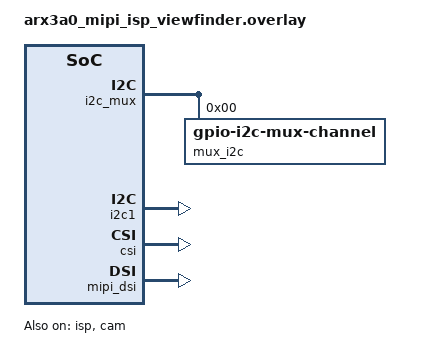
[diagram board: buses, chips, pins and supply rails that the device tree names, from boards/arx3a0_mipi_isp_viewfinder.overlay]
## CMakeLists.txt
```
# Copyright (C) Alif Semiconductor
# SPDX-License-Identifier: Apache-2.0

cmake_minimum_required(VERSION 3.20.0)
find_package(Zephyr REQUIRED HINTS $ENV{ZEPHYR_BASE})
project(viewfinder)

target_sources(app PRIVATE src/main.c src/alif_logo.c)
```

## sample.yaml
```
sample:
  name: Viewfinder Sample
  description: Continuous frame capture from ARX3A0/MT9M114/OV5675 camera
    sensor and display on MIPI DSI panel.
tests:
  sample.drivers.viewfinder.arx3a0.e7:
    platform_allow:
      - alif_e7_dk/rtss_hp
      - alif_e7_dk/rtss_he
    extra_args:
      - DTC_OVERLAY_FILE=boards/arx3a0_mipi_viewfinder.overlay
    tags: drivers video display
  sample.drivers.viewfinder.arx3a0.e8:
    platform_allow:
      - alif_e8_dk/rtss_hp
      - alif_e8_dk/rtss_he
      - alif_e8_ak/rtss_hp
      - alif_e8_ak/rtss_he
    extra_args:
      - DTC_OVERLAY_FILE=boards/arx3a0_mipi_isp_viewfinder.overlay
      - OVERLAY_CONFIG=boards/isp.conf
    tags: drivers video display
  sample.drivers.viewfinder.mt9m114.e7:
    platform_allow:
      - alif_e7_dk/rtss_hp
      - alif_e7_dk/rtss_he
    extra_args:
      - DTC_OVERLAY_FILE=boards/mt9m114_mipi_viewfinder.overlay
      - OVERLAY_CONFIG=boards/serial_camera_mt9m114.conf
    tags: drivers video display
  sample.drivers.viewfinder.mt9m114.e8:
    platform_allow:
      - alif_e8_dk/rtss_hp
      - alif_e8_dk/rtss_he
      - alif_e8_ak/rtss_hp
      - alif_e8_ak/rtss_he
    extra_args:
      - DTC_OVERLAY_FILE=boards/mt9m114_mipi_isp_viewfinder.overlay
      - OVERLAY_CONFIG="boards/isp.conf;boards/serial_camera_mt9m114.conf"
    tags: drivers video display
  sample.drivers.viewfinder.ov5675.e8:
    platform_allow:
      - alif_e8_dk/rtss_hp
      - alif_e8_dk/rtss_he
      - alif_e8_ak/rtss_hp
      - alif_e8_ak/rtss_he
    extra_args:
      - DTC_OVERLAY_FILE=boards/ov5675_mipi_isp_viewfinder.overlay
      - OVERLAY_CONFIG=boards/isp.conf
    tags: drivers video display
```

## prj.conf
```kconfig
# Camera
CONFIG_VIDEO=y
CONFIG_LOG=y
CONFIG_PRINTK=y
CONFIG_STDOUT_CONSOLE=y
CONFIG_I2C_TARGET=y
CONFIG_I2C=y
CONFIG_I2C_DW_CLOCK_SPEED=100
CONFIG_SYS_HEAP_AUTO=y
CONFIG_VIDEO_LOG_LEVEL_DBG=n
CONFIG_GPIO=y
# AIPL (Alif Image Processing Library) - for HW-accelerated color conversion
CONFIG_AIPL=y
CONFIG_AIPL_COLOR_CONVERSION=y
CONFIG_AIPL_CONVERT_I420=y
CONFIG_AIPL_CONVERT_I420_TO_RGB565=y
CONFIG_AIPL_DEMOSAICING=y
CONFIG_AIPL_HELIUM_ACCELERATION=y
CONFIG_DAVE2D=n
CONFIG_AIPL_DAVE2D_ACCELERATION=n
# Display
CONFIG_DISPLAY=y
CONFIG_MIPI_DSI=y
CONFIG_HEAP_MEM_POOL_SIZE=81920
```

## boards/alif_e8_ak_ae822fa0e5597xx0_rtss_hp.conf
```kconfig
CONFIG_VIDEO_ALIF_CAM_EXTENDED=y
```

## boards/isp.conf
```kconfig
CONFIG_USE_ALIF_ISP_LIB=y
CONFIG_ISP_LIB_SCALAR_MODULE=y
CONFIG_ISP_LIB_DMSC_MODULE=y
CONFIG_ISP_LIB_CSM_MODULE=y
CONFIG_ISP_LIB_CCM_MODULE=n
CONFIG_ISP_LIB_WBM_MODULE=n
CONFIG_ISP_LIB_WB_MODULE=n
```

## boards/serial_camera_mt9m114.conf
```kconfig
# Serial MT9M114
CONFIG_LOG_MODE_IMMEDIATE=y
CONFIG_VIDEO_MIPI_CSI2_DW=y
CONFIG_VIDEO_BUFFER_POOL_NUM_MAX=2
CONFIG_REGULATOR=y
CONFIG_REGULATOR_FIXED_INIT_PRIORITY=40
CONFIG_MT9M114_PARALLEL_INIT=n
CONFIG_MAIN_STACK_SIZE=8192
```

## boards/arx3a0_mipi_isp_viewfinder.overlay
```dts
/* Copyright (C) Alif Semiconductor - All Rights Reserved.
 * Use, distribution and modification of this code are permitted under the
 * terms stated in the Alif Semiconductor Software License Agreement.
 *
 * You should have received a copy of the Alif Semiconductor Software
 * License Agreement with this file. If not, please write to:
 * contact@alifsemi.com, or visit: https://alifsemi.com/license
 */

#include <dt-bindings/pinctrl/ensemble-pinctrl.h>
#include <dt-bindings/i2c/i2c.h>
#include <dt-bindings/gpio/gpio.h>
#include <dt-bindings/video/video-interfaces.h>

&i2c1 {
	status = "okay";
};

&gpio7 {
	status = "okay";
};

&gpio14 {
	status = "okay";
};

/{
	/* GPIO-based I2C mux for camera sensor selection (E8 SoC only) */
	i2c_mux: i2c-mux {
		compatible = "gpio-i2c-mux";
		status = "okay";
		#address-cells = <1>;
		#size-cells = <0>;

		i2c-inst = <&i2c1>;

		ctrl-gpios = <&gpio14 3 GPIO_ACTIVE_HIGH>;

		mux_i2c@0 {
			compatible = "gpio-i2c-mux-channel";
			reg = <0>;

			#address-cells = <1>;
			#size-cells = <0>;

			arx3a0_selfie: arx3a0_selfie@36 {
				compatible = "onnn,arx3a0";
				reg = <0x36>;

				reset-gpios = <&gpio14 4 GPIO_ACTIVE_HIGH>;
				power-gpios = <&gpio7 5 GPIO_ACTIVE_HIGH>;

				status = "okay";

				port {
					arx3a0_csi2_ep_out0: endpoint {
						bus-type =
						  <VIDEO_BUS_TYPE_CSI2_DPHY>;
						link-frequencies = <400000000>;
						data-lanes = <1 2>;
						clock-lane = <0>;

						remote-endpoint-label =
						  "csi2_ep_in0";
					};
				};
			};
		};
	};
};

/* ISP node for hardware image processing pipeline (E8 SoC only) */
&isp {
	status = "okay";

	port {
		isp_ep_in: endpoint {
			remote-endpoint-label = "cam_isp_ep_out";
		};
	};
};

&cam {
	status = "okay";

	pinctrl-0 = <&pinctrl_cam_xvclk>;
	pinctrl-names = "default";
	capture-mode = "snapshot";
	ports {
		#address-cells = <1>;
		#size-cells = <0>;

		/* MIPI CSI-2 bus endpoint. */
		port@0 {
			reg = <0>;
			cam_csi2_ep_in: endpoint {
				remote-endpoint-label = "csi2_ep_out";
			};
		};

		/* ISP Interface. */
		port@2 {
			reg = <2>;
			cam_isp_ep_out: endpoint {
				remote-endpoint-label = "isp_ep_in";
			};
		};
	};
};

&csi {
	status = "okay";

	/* Selfie camera D-PHY*/
	phy-if = <&dphy 0>;
	ports {
		#address-cells = <1>;
		#size-cells = <0>;
		port@0 {
			reg = <0>;
			csi2_ep_in0: endpoint {
				bus-type = <VIDEO_BUS_TYPE_CSI2_DPHY>;
				data-lanes = <1 2>;
				clock-lane = <0>;

				remote-endpoint-label = "arx3a0_csi2_ep_out0";
			};
		};
		port@1 {
			reg = <2>;
			csi2_ep_out: endpoint {
				remote-endpoint-label = "cam_csi2_ep_in";
				bus-type = <VIDEO_BUS_TYPE_PARALLEL>;
			};
		};
	};
};

&mipi_dsi {
	status = "okay";
};
/ {
	soc {
		cdc200: cdc200@49031000 {
			width = <480>;
			height = <800>;
			hfront-porch = <5>;
			hback-porch = <5>;
			hsync-len = <4>;
			vfront-porch = <10>;
			vback-porch = <10>;
			vsync-len = <2>;
			clock-frequency = <24364080>;
			hsync-active = <0>;
			vsync-active = <0>;
			de-active = <1>;
			pixelclk-active = <0>;
			bg-color = <0>;
			enable-l1 = <1>;
			pixel-fmt-l1 = "rgb-565";
			def-back-color-l1 = <0>;
			win-x0-l1 = <0>;
			win-y0-l1 = <0>;
			win-x1-l1 = <480>;
			win-y1-l1 = <800>;
			blend-factor1-l1 = <4>;
			blend-factor2-l1 = <5>;
			const-alpha-l1 = <0xff>;
			enable-l2 = <0>;
			pixel-fmt-l2 = "undefined";
			win-x0-l2 = <0>;
			win-y0-l2 = <0>;
			win-x1-l2 = <0>;
			win-y1-l2 = <0>;
			blend-factor1-l2 = <6>;
			blend-factor2-l2 = <7>;
			const-alpha-l2 = <0xff>;
		};
	};
};
```

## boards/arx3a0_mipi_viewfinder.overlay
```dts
/* Copyright (C) Alif Semiconductor - All Rights Reserved.
 * Use, distribution and modification of this code are permitted under the
 * terms stated in the Alif Semiconductor Software License Agreement.
 *
 * You should have received a copy of the Alif Semiconductor Software
 * License Agreement with this file. If not, please write to:
 * contact@alifsemi.com, or visit: https://alifsemi.com/license
 */

#include <dt-bindings/pinctrl/ensemble-pinctrl.h>
#include <dt-bindings/i2c/i2c.h>
#include <dt-bindings/gpio/gpio.h>
#include <dt-bindings/video/video-interfaces.h>


&gpio7 {
	status = "okay";
};

&gpio9 {
	status = "okay";
};

&i2c1 {
		status = "okay";
			arx3a0_selfie: arx3a0_selfie@36 {
				compatible = "onnn,arx3a0";
				reg = <0x36>;

				reset-gpios = <&gpio9 1 GPIO_ACTIVE_HIGH>;
				power-gpios = <&gpio7 5 GPIO_ACTIVE_HIGH>;

				status = "okay";

				port {
					arx3a0_csi2_ep_out: endpoint {
						bus-type =
						  <VIDEO_BUS_TYPE_CSI2_DPHY>;
						link-frequencies = <400000000>;
						data-lanes = <1 2>;
						clock-lane = <0>;

						remote-endpoint-label =
						  "csi2_ep_in";
				};
			};
		};
	};

&cam {
	status = "okay";

	pinctrl-0 = <&pinctrl_cam_xvclk>;
	pinctrl-names = "default";
	capture-mode = "snapshot";
	csi-halt-en;
	ports {
		#address-cells = <1>;
		#size-cells = <0>;

		/* MIPI CSI-2 bus endpoint. */
		port@0 {
			reg = <0>;
			cam_csi2_ep_in: endpoint {
				remote-endpoint-label = "csi2_ep_out";
			};
		};

		/* Video buffer output endpoint. */
		port@1 {
			reg = <1>;
			cam_mem_ep_out: endpoint {
				remote-endpoint-label = "application";
			};
		};
	};
};

&csi {
	status = "okay";

	/* Selfie camera D-PHY*/
	phy-if = <&dphy 0>;
	ports {
		#address-cells = <1>;
		#size-cells = <0>;
		port@0 {
			reg = <0>;
			csi2_ep_in: endpoint {
				bus-type = <VIDEO_BUS_TYPE_CSI2_DPHY>;
				data-lanes = <1 2>;
				clock-lane = <0>;

				remote-endpoint-label = "arx3a0_csi2_ep_out";
			};
		};
		port@1 {
			reg = <2>;
			csi2_ep_out: endpoint {
				remote-endpoint-label = "cam_csi2_ep_in";
				bus-type = <VIDEO_BUS_TYPE_PARALLEL>;
			};
		};
	};
};

&mipi_dsi {
	status = "okay";
};
/ {
	soc {
		cdc200: cdc200@49031000 {
			width = <480>;
			height = <800>;
			hfront-porch = <5>;
			hback-porch = <5>;
			hsync-len = <4>;
			vfront-porch = <10>;
			vback-porch = <10>;
			vsync-len = <2>;
			clock-frequency = <24364080>;
			hsync-active = <0>;
			vsync-active = <0>;
			de-active = <1>;
			pixelclk-active = <0>;
			bg-color = <0>;
			enable-l1 = <1>;
			pixel-fmt-l1 = "rgb-565";
			def-back-color-l1 = <0>;
			win-x0-l1 = <0>;
			win-y0-l1 = <0>;
			win-x1-l1 = <480>;
			win-y1-l1 = <800>;
			blend-factor1-l1 = <4>;
			blend-factor2-l1 = <5>;
			const-alpha-l1 = <0xff>;
			enable-l2 = <0>;
			pixel-fmt-l2 = "undefined";
			win-x0-l2 = <0>;
			win-y0-l2 = <0>;
			win-x1-l2 = <0>;
			win-y1-l2 = <0>;
			blend-factor1-l2 = <6>;
			blend-factor2-l2 = <7>;
			const-alpha-l2 = <0xff>;
		};
	};
};
```

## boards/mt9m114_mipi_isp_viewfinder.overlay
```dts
/* Copyright (C) Alif Semiconductor - All Rights Reserved.
 * Use, distribution and modification of this code are permitted under the
 * terms stated in the Alif Semiconductor Software License Agreement.
 *
 * You should have received a copy of the Alif Semiconductor Software
 * License Agreement with this file. If not, please write to:
 * contact@alifsemi.com, or visit: https://alifsemi.com/license
 */

#include <dt-bindings/pinctrl/ensemble-pinctrl.h>
#include <dt-bindings/i2c/i2c.h>
#include <dt-bindings/gpio/gpio.h>
#include <dt-bindings/video/video-interfaces.h>

&i2c1 {
	status = "okay";
};

&gpio7 {
	status = "okay";
};

&gpio14 {
	status = "okay";
};

/ {
csi_cam_power: regulator-v1.2-v1.8v {
		compatible = "regulator-fixed";

		regulator-name = "MIPI supply";

		enable-gpios = < &gpio7 5 GPIO_ACTIVE_HIGH >;

		regulator-boot-on;
		regulator-always-on;
		status = "okay";
};
};

/{
	i2c_mux: i2c-mux {
		compatible = "gpio-i2c-mux";
		status = "okay";
		#address-cells = <1>;
		#size-cells = <0>;

		i2c-inst = <&i2c1>;

		ctrl-gpios = <&gpio14 3 GPIO_ACTIVE_HIGH>;

		mux_i2c@0 {
			compatible = "gpio-i2c-mux-channel";
			reg = <0>;

			#address-cells = <1>;
			#size-cells = <0>;

			mt9m114_selfie: mt9m114_selfie@5d {
				compatible = "aptina,mt9m114";
				reg = <0x5d>;

				reset-gpios = <&gpio14 4 GPIO_ACTIVE_LOW>;

				status = "okay";

				port {
					mt9m114_csi2_ep_out: endpoint {
						bus-type = <VIDEO_BUS_TYPE_CSI2_DPHY>;
						link-frequencies = < 384000000 >;
						data-lanes = <1>;
						clock-lane = <0>;

						remote-endpoint-label = "csi2_ep_in";
					};
				};
			};
		};
	};
};

&isp {
	status = "okay";

	port {
		isp_ep_in: endpoint {
			remote-endpoint-label = "cam_isp_ep_out";
		};
	};
};

&cam {
	status = "okay";

	pinctrl-0 = <&pinctrl_cam_xvclk>;
	pinctrl-names = "default";
	capture-mode = "snapshot";
	ports {
		#address-cells = <1>;
		#size-cells = <0>;

		/* MIPI CSI-2 bus endpoint. */
		port@0 {
			reg = <0>;
			cam_csi2_ep_in: endpoint {
				remote-endpoint-label = "csi2_ep_out";
			};
		};

		/* ISP Interface. */
		port@2 {
			reg = <2>;
			cam_isp_ep_out: endpoint {
				remote-endpoint-label = "isp_ep_in";
			};
		};
	};
};

&csi {
	status = "okay";

	/* Selfie camera D-PHY*/
	phy-if = <&dphy 0>;
	ports {
		#address-cells = <1>;
		#size-cells = <0>;
		port@0 {
			reg = <0>;
			csi2_ep_in: endpoint {
				bus-type = <VIDEO_BUS_TYPE_CSI2_DPHY>;
				link-frequencies = < 384000000 >;
				data-lanes = <1 2>;
				clock-lane = <0>;

				remote-endpoint-label = "mt9m114_csi2_ep_out";
			};
		};
		port@1 {
			reg = <2>;
			csi2_ep_out: endpoint {
				remote-endpoint-label = "cam_csi2_ep_in";
				bus-type = <VIDEO_BUS_TYPE_PARALLEL>;
			};
		};
	};
};

&mipi_dsi {
	status = "okay";
};
/ {
	soc {
		cdc200: cdc200@49031000 {
			width = <480>;
			height = <800>;
			hfront-porch = <5>;
			hback-porch = <5>;
			hsync-len = <4>;
			vfront-porch = <10>;
			vback-porch = <10>;
			vsync-len = <2>;
			clock-frequency = <24364080>;
			hsync-active = <0>;
			vsync-active = <0>;
			de-active = <1>;
			pixelclk-active = <0>;
			bg-color = <0>;
			enable-l1 = <1>;
			pixel-fmt-l1 = "rgb-565";
			def-back-color-l1 = <0>;
			win-x0-l1 = <0>;
			win-y0-l1 = <0>;
			win-x1-l1 = <480>;
			win-y1-l1 = <800>;
			blend-factor1-l1 = <4>;
			blend-factor2-l1 = <5>;
			const-alpha-l1 = <0xff>;
			enable-l2 = <0>;
			pixel-fmt-l2 = "undefined";
			win-x0-l2 = <0>;
			win-y0-l2 = <0>;
			win-x1-l2 = <0>;
			win-y1-l2 = <0>;
			blend-factor1-l2 = <6>;
			blend-factor2-l2 = <7>;
			const-alpha-l2 = <0xff>;
		};
	};
};
```

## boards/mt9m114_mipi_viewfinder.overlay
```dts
/* Copyright (C) Alif Semiconductor - All Rights Reserved.
 * Use, distribution and modification of this code are permitted under the
 * terms stated in the Alif Semiconductor Software License Agreement.
 *
 * You should have received a copy of the Alif Semiconductor Software
 * License Agreement with this file. If not, please write to:
 * contact@alifsemi.com, or visit: https://alifsemi.com/license
 */

#include <dt-bindings/pinctrl/ensemble-pinctrl.h>
#include <dt-bindings/i2c/i2c.h>
#include <dt-bindings/gpio/gpio.h>
#include <dt-bindings/video/video-interfaces.h>

&gpio7 {
	status = "okay";
};

&gpio9 {
	status = "okay";
};

/{

	csi_cam_power: regulator-v1.2-v1.8v {
		compatible = "regulator-fixed";

		regulator-name = "MIPI supply";

		enable-gpios = < &gpio7 5 GPIO_ACTIVE_HIGH >;

		regulator-boot-on;
		regulator-always-on;
		status = "okay";
	};
};

&i2c1 {
	status = "okay";
	clock-frequency = <I2C_BITRATE_FAST>;

	/*
	 * For Standard  speed LCNT=0 and HCNT=0
	 * For Fast      speed LCNT=50 and HCNT=30
	 * For Fast Plus speed LCNT=35 and HCNT=5
	 */
	hcnt-offset = <30>;
	lcnt-offset = <50>;

	mt9m114: mt9m114@5d {
		compatible = "aptina,mt9m114";
		reg = <0x5d>;

		reset-gpios = <&gpio9 1 GPIO_ACTIVE_LOW>;
		status = "okay";

		port {
			mt9m114_csi2_ep_out: endpoint {
				bus-type = <VIDEO_BUS_TYPE_CSI2_DPHY>;
				link-frequencies = < 384000000 >;
				data-lanes = <0x1>;
				clock-lane = <0>;
				remote-endpoint-label = "csi2_ep_in";
			};
		};
	};
};
&cam {
	status = "okay";

	pinctrl-0 = <&pinctrl_cam_xvclk>;
	pinctrl-names = "default";
	capture-mode = "snapshot";
	ports {
		#address-cells = <1>;
		#size-cells = <0>;

		/* MIPI CSI-2 bus endpoint. */
		port@0 {
			reg = <0>;
			cam_csi2_ep_in: endpoint {
				remote-endpoint-label = "csi2_ep_out";
			};
		};
		/* Video buffer output endpoint.*/
		port@1 {
			reg = <1>;
			cam_mem_ep_out: endpoint {
				remote-endpoint-label = "application";
			};
		};
	};
};

&csi {
	status = "okay";

	/* Selfie camera D-PHY*/
	phy-if = <&dphy 0>;
	ports {
		#address-cells = <1>;
		#size-cells = <0>;
		port@0 {
			reg = <0>;
			csi2_ep_in: endpoint {
				bus-type = <VIDEO_BUS_TYPE_CSI2_DPHY>;
				data-lanes = <1>;
				clock-lane = <0>;
				link-frequencies = < 384000000 >;

				remote-endpoint-label = "mt9m114_csi2_ep_out";
			};
		};
		port@1 {
			reg = <2>;
			csi2_ep_out: endpoint {
				remote-endpoint-label = "cam_csi2_ep_in";
				bus-type = <VIDEO_BUS_TYPE_PARALLEL>;
			};
		};
	};
};

&mipi_dsi {
	status = "okay";
};
/ {
	soc {
		cdc200: cdc200@49031000 {
			width = <480>;
			height = <800>;
			hfront-porch = <5>;
			hback-porch = <5>;
			hsync-len = <4>;
			vfront-porch = <10>;
			vback-porch = <10>;
			vsync-len = <2>;
			clock-frequency = <24364080>;
			hsync-active = <0>;
			vsync-active = <0>;
			de-active = <1>;
			pixelclk-active = <0>;
			bg-color = <0>;
			enable-l1 = <1>;
			pixel-fmt-l1 = "rgb-565";
			def-back-color-l1 = <0>;
			win-x0-l1 = <0>;
			win-y0-l1 = <0>;
			win-x1-l1 = <480>;
			win-y1-l1 = <800>;
			blend-factor1-l1 = <4>;
			blend-factor2-l1 = <5>;
			const-alpha-l1 = <0xff>;
			enable-l2 = <0>;
			pixel-fmt-l2 = "undefined";
			win-x0-l2 = <0>;
			win-y0-l2 = <0>;
			win-x1-l2 = <0>;
			win-y1-l2 = <0>;
			blend-factor1-l2 = <6>;
			blend-factor2-l2 = <7>;
			const-alpha-l2 = <0xff>;
		};
	};
};
```

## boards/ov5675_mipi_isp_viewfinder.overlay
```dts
/* Copyright (C) Alif Semiconductor - All Rights Reserved.
 * Use, distribution and modification of this code are permitted under the
 * terms stated in the Alif Semiconductor Software License Agreement.
 *
 * You should have received a copy of the Alif Semiconductor Software
 * License Agreement with this file. If not, please write to:
 * contact@alifsemi.com, or visit: https://alifsemi.com/license
 */

#include <dt-bindings/pinctrl/ensemble-pinctrl.h>
#include <dt-bindings/i2c/i2c.h>
#include <dt-bindings/gpio/gpio.h>
#include <dt-bindings/video/video-interfaces.h>

&i2c1 {
	status = "okay";
	clock-frequency = <I2C_BITRATE_FAST>;

	/*
	 * For Standard  speed LCNT=0 and HCNT=0
	 * For Fast      speed LCNT=50 and HCNT=30
	 * For Fast Plus speed LCNT=35 and HCNT=5
	 */
	hcnt-offset = <30>;
	lcnt-offset = <50>;
};

&gpio7 {
	status = "okay";
};

&gpio14 {
	status = "okay";
};

/{
	i2c_mux: i2c-mux {
		compatible = "gpio-i2c-mux";
		status = "okay";
		#address-cells = <1>;
		#size-cells = <0>;

		i2c-inst = <&i2c1>;

		ctrl-gpios = <&gpio14 3 GPIO_ACTIVE_HIGH>;

		mux_i2c@0 {
			compatible = "gpio-i2c-mux-channel";
			reg = <0>;

			#address-cells = <1>;
			#size-cells = <0>;
			/* 10 for compact version, 36 for 'legacy' */
			ov5675_selfie: ov5675_selfie@10 {
				compatible = "ovti,ov5675";
				reg = <0x10>;

				reset-gpios = <&gpio14 4 GPIO_ACTIVE_HIGH>;
				power-gpios = <&gpio7 5 GPIO_ACTIVE_HIGH>;

				status = "okay";

				port {
					ov5675_csi2_ep_out0: endpoint {
						bus-type = <VIDEO_BUS_TYPE_CSI2_DPHY>;
						link-frequencies = < 400000000 >;
						data-lanes = <1 2>;
						clock-lane = <0>;

						remote-endpoint-label = "csi2_ep_in0";
					};
				};
			};
		};
	};
};

&isp {
	status = "okay";
	port {
		isp_ep_in: endpoint {
			remote-endpoint-label = "cam_isp_ep_out";
		};
	};
};

&cam {
	status = "okay";

	pinctrl-0 = <&pinctrl_cam_xvclk>;
	pinctrl-names = "default";
	capture-mode = "snapshot";
	data-mode = "16-bit";

	ports {
		#address-cells = <1>;
		#size-cells = <0>;

		/* MIPI CSI-2 bus endpoint. */
		port@0 {
			reg = <0>;
			cam_csi2_ep_in: endpoint {
				remote-endpoint-label = "csi2_ep_out";
			};
		};

		/* ISP Interface. */
		port@2 {
			reg = <2>;
			cam_isp_ep_out: endpoint {
				remote-endpoint-label = "isp_ep_in";
			};
		};
	};
};

&csi {
	status = "okay";

	/* Selfie camera D-PHY */
	phy-if = <&dphy 0>;
	ports {
		#address-cells = <1>;
		#size-cells = <0>;
		port@0 {
			reg = <0>;
			csi2_ep_in0: endpoint {
				bus-type = <VIDEO_BUS_TYPE_CSI2_DPHY>;
				data-lanes = <1 2>;
				clock-lane = <0>;

				remote-endpoint-label = "ov5675_csi2_ep_out0";
			};
		};
		port@2 {
			reg = <2>;
			csi2_ep_out: endpoint {
				remote-endpoint-label = "cam_csi2_ep_in";
				bus-type = <VIDEO_BUS_TYPE_PARALLEL>;
			};
		};
	};
};

&mipi_dsi {
	status = "okay";
};
/ {
	soc {
		cdc200: cdc200@49031000 {
			width = <480>;
			height = <800>;
			hfront-porch = <5>;
			hback-porch = <5>;
			hsync-len = <4>;
			vfront-porch = <10>;
			vback-porch = <10>;
			vsync-len = <2>;
			clock-frequency = <24364080>;
			hsync-active = <0>;
			vsync-active = <0>;
			de-active = <1>;
			pixelclk-active = <0>;
			bg-color = <0>;
			enable-l1 = <1>;
			pixel-fmt-l1 = "rgb-565";
			def-back-color-l1 = <0>;
			win-x0-l1 = <0>;
			win-y0-l1 = <0>;
			win-x1-l1 = <480>;
			win-y1-l1 = <800>;
			blend-factor1-l1 = <4>;
			blend-factor2-l1 = <5>;
			const-alpha-l1 = <0xff>;
			enable-l2 = <0>;
			pixel-fmt-l2 = "undefined";
			win-x0-l2 = <0>;
			win-y0-l2 = <0>;
			win-x1-l2 = <0>;
			win-y1-l2 = <0>;
			blend-factor1-l2 = <6>;
			blend-factor2-l2 = <7>;
			const-alpha-l2 = <0xff>;
		};
	};
};
```

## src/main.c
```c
/*
 * Copyright (C) Alif Semiconductor.
 * SPDX-License-Identifier: Apache-2.0
 */

#include <zephyr/kernel.h>
#include <zephyr/device.h>
#include <string.h>

#include <zephyr/drivers/video.h>
#include <soc_common.h>
#include <se_service.h>
#include <zephyr/drivers/gpio.h>

#include <zephyr/drivers/video/video_alif.h>
#include <zephyr/drivers/video/isp-vsi.h>

#include <zephyr/logging/log.h>
#include <zephyr/drivers/display.h>
#include <zephyr/drivers/display/cdc200.h>
#ifdef CONFIG_MIPI_DSI
#include <zephyr/drivers/mipi_dsi/dsi_dw.h>
#endif /* CONFIG_MIPI_DSI */
#include <zephyr/cache.h>

#include <aipl_error.h>

#define ISP_ENABLED DT_NODE_HAS_STATUS_OKAY(DT_NODELABEL(isp))

#if ISP_ENABLED
#include <aipl_color_conversion.h>
#else
#include <aipl_demosaic.h>
#endif

#include "alif_logo.h"

LOG_MODULE_REGISTER(video_app, LOG_LEVEL_INF);

#define N_FRAMES		2
#define N_VID_BUFF              MIN(CONFIG_VIDEO_BUFFER_POOL_NUM_MAX, N_FRAMES)

#ifdef CONFIG_DT_HAS_HIMAX_HM0360_ENABLED
#define PIPELINE_FORMAT	VIDEO_PIX_FMT_BGGR8
#define SENSOR_WIDTH	320
#define SENSOR_HEIGHT	240
#define PIPELINE_IS_RGB565	0
#elif CONFIG_DT_HAS_OVTI_OV5640_ENABLED
#define PIPELINE_FORMAT	VIDEO_PIX_FMT_RGB565
#define SENSOR_WIDTH	160
#define SENSOR_HEIGHT	120
#define PIPELINE_IS_RGB565	1
#elif CONFIG_DT_HAS_APTINA_MT9M114_ENABLED
#if ISP_ENABLED
#define PIPELINE_FORMAT	VIDEO_PIX_FMT_Y10P
#define SENSOR_WIDTH	648
#define SENSOR_HEIGHT	488
#define PIPELINE_IS_RGB565	0
#else
#define PIPELINE_FORMAT	VIDEO_PIX_FMT_RGB565
#define SENSOR_WIDTH	640
#define SENSOR_HEIGHT	480
#define PIPELINE_IS_RGB565	1
#endif
#elif CONFIG_DT_HAS_OVTI_OV5675_ENABLED
#define PIPELINE_FORMAT	VIDEO_PIX_FMT_Y10P
#define SENSOR_WIDTH	640
#define SENSOR_HEIGHT	480
#define PIPELINE_IS_RGB565	0
#else
#define PIPELINE_FORMAT	VIDEO_PIX_FMT_Y10P
#define SENSOR_WIDTH	0
#define SENSOR_HEIGHT	0
#define PIPELINE_IS_RGB565	0
#endif

#if ISP_ENABLED
#define OUTPUT_FORMAT	VIDEO_PIX_FMT_YUV420
#endif

#if (CONFIG_VIDEO_ALIF_CAM_EXTENDED && CONFIG_VIDEO_MIPI_CSI2_DW)
#define NUM_CAMS DT_PROP_LEN(DT_NODELABEL(csi), phy_if)
#else
#define NUM_CAMS 1
#endif /* CONFIG_VIDEO_ALIF_CAM_EXTENDED */

#if ISP_ENABLED
enum logging_level {
	LOGGING_LEVEL_NONE = 0,
	LOGGING_LEVEL_ERR,
	LOGGING_LEVEL_WARN,
	LOGGING_LEVEL_INFO,
	LOGGING_LEVEL_DEBUG,
	LOGGING_LEVEL_VERBOSE,
};

#define LIB_LOG_LEVEL LOGGING_LEVEL_NONE

int log_level(void)
{
	return LIB_LOG_LEVEL;
}
#endif

static int fourcc_to_pitch(uint32_t fourcc, uint32_t width)
{
	int pitch;

	switch (fourcc) {
	case VIDEO_PIX_FMT_RGB888_PLANAR_PRIVATE:
	case VIDEO_PIX_FMT_NV24:
	case VIDEO_PIX_FMT_NV42:
		pitch = width * 3;
		break;
	case VIDEO_PIX_FMT_RGB565:
	case VIDEO_PIX_FMT_Y10P:
	case VIDEO_PIX_FMT_BGGR10:
	case VIDEO_PIX_FMT_GBRG10:
	case VIDEO_PIX_FMT_GRBG10:
	case VIDEO_PIX_FMT_RGGB10:
	case VIDEO_PIX_FMT_BGGR12:
	case VIDEO_PIX_FMT_GBRG12:
	case VIDEO_PIX_FMT_GRBG12:
	case VIDEO_PIX_FMT_RGGB12:
	case VIDEO_PIX_FMT_BGGR14:
	case VIDEO_PIX_FMT_GBRG14:
	case VIDEO_PIX_FMT_GRBG14:
	case VIDEO_PIX_FMT_RGGB14:
	case VIDEO_PIX_FMT_BGGR16:
	case VIDEO_PIX_FMT_GBRG16:
	case VIDEO_PIX_FMT_GRBG16:
	case VIDEO_PIX_FMT_RGGB16:
	case VIDEO_PIX_FMT_Y10:
	case VIDEO_PIX_FMT_Y12:
	case VIDEO_PIX_FMT_Y14:
	case VIDEO_PIX_FMT_YUYV:
	case VIDEO_PIX_FMT_YVYU:
	case VIDEO_PIX_FMT_VYUY:
	case VIDEO_PIX_FMT_UYVY:
	case VIDEO_PIX_FMT_NV16:
	case VIDEO_PIX_FMT_NV61:
	case VIDEO_PIX_FMT_YUV422P:
		pitch = width << 1;
		break;
	case VIDEO_PIX_FMT_NV12:
	case VIDEO_PIX_FMT_NV21:
	case VIDEO_PIX_FMT_YUV420:
	case VIDEO_PIX_FMT_YVU420:
		pitch = (width * 3) >> 1;
		break;
	case VIDEO_PIX_FMT_BGGR8:
	case VIDEO_PIX_FMT_GBRG8:
	case VIDEO_PIX_FMT_GRBG8:
	case VIDEO_PIX_FMT_RGGB8:
	case VIDEO_PIX_FMT_GREY:
	default:
		pitch = width;
		break;
	}

	return pitch;
}

#if ISP_ENABLED && defined(CONFIG_ISP_LIB_AE_MODULE)
static void ae_status(const struct device *dev, uint8_t ae_stable,
		       void *user_data)
{
	ARG_UNUSED(dev);
	ARG_UNUSED(user_data);
	LOG_INF("AE Stabilization status: %d", ae_stable);
}
#endif /* ISP_ENABLED && defined(CONFIG_ISP_LIB_AE_MODULE) */

/*
 * Blit the Alif logo (indexed ALPHA8 with RGBA LUT) to the
 * framebuffer in RGB565.
 * Placed at the bottom-center of the display, below the camera image area.
 */
static void blit_logo_to_fb(uint16_t *fb, uint32_t fb_stride_px,
			     uint32_t cam_height, uint32_t panel_height)
{
	const aipl_image_t *logo = get_alif_logo();
	const uint8_t *lut = get_alif_lut();
	const uint8_t *src = (const uint8_t *)logo->data;
	uint32_t logo_w = logo->width;
	uint32_t logo_h = logo->height;
	uint32_t x_off = (fb_stride_px - logo_w) / 2 - 10;
	uint32_t y_off = cam_height + (panel_height - cam_height - logo_h) / 2;

	for (uint32_t y = 0; y < logo_h; y++) {
		for (uint32_t x = 0; x < logo_w; x++) {
			uint8_t idx = src[y * logo_w + x];
			uint8_t b = lut[idx * 4 + 0];
			uint8_t g = lut[idx * 4 + 1];
			uint8_t r = lut[idx * 4 + 2];
			uint16_t rgb565 = ((uint16_t)(r >> 3) << 11) |
					  ((uint16_t)(g >> 2) << 5) |
					  (uint16_t)(b >> 3);
			fb[(y_off + y) * fb_stride_px + (x_off + x)] = rgb565;
		}
	}
}

int main(void)
{
	struct video_buffer *buffers[N_VID_BUFF], *vbuf;
	struct video_format fmt = { 0 };
	struct video_caps caps;
	const struct device *video;
	enum video_endpoint_id ep;
	unsigned int frame = 0;
	size_t bsize;
	int i = 0;
	int ret;
	struct video_buffer *conv_buf = NULL;

	struct cdc200_display_caps capabilities;
	struct cdc200_fb_desc fb_l2 = { 0 };
	const struct device *display_dev;
	uint16_t preview_size;
	size_t panel_fb_bytes;
	size_t conv_bytes;
#if defined(CONFIG_MIPI_DSI)
	struct display_capabilities panel_caps;
	const struct device *panel;
	const struct device *dsi;

	panel = DEVICE_DT_GET(DT_ALIAS(panel));
	if (!device_is_ready(panel)) {
		LOG_ERR("Device %s not found. Aborting sample.",
			panel->name);
		return -1;
	}

	dsi = DEVICE_DT_GET(DT_ALIAS(mipi_dsi));
	if (!device_is_ready(dsi)) {
		LOG_ERR("Device %s not found. Aborting sample.",
			dsi->name);
		return -1;
	}

	LOG_DBG("Rotating the display by 180 degrees");
	ret = display_set_orientation(panel, DISPLAY_ORIENTATION_ROTATED_180);
	if (ret == -ENOTSUP) {
		LOG_INF("Un-supported Display Rotation.");
	}

	LOG_INF("Enable Ensemble-DSI Device video mode.");
	ret = dsi_dw_set_mode(dsi, DSI_DW_VIDEO_MODE);
	if (ret) {
		LOG_ERR("DSI Host controller set to video mode.");
		return -1;
	}

	display_get_capabilities(panel, &panel_caps);
	LOG_DBG("Panel Orientation - %d", panel_caps.current_orientation);

	display_blanking_off(panel);
#endif /* defined(CONFIG_MIPI_DSI) */

#ifdef CONFIG_DT_HAS_HIMAX_HM0360_ENABLED
	uint32_t num_frames;
#endif /* CONFIG_DT_HAS_HIMAX_HM0360_ENABLED */

#if (CONFIG_VIDEO_ALIF_CAM_EXTENDED && CONFIG_VIDEO_MIPI_CSI2_DW)
	uint8_t current_sensor;
#endif /* CONFIG_VIDEO_ALIF_CAM_EXTENDED */
	int loop_ctr;

	uint32_t last_timestamp = 0;
	uint32_t frame_time = 0;

	/* Per-stage timing (in microseconds) */
	uint32_t t_conv_us = 0, t_disp_us = 0, t_total_us = 0;
	uint32_t t_conv_sum = 0, t_disp_sum = 0, t_total_sum = 0;
	uint32_t t_begin, t_conv_start, t_disp_start;

#if ISP_ENABLED
	video = DEVICE_DT_GET_ONE(vsi_isp_pico);
#else
	video = DEVICE_DT_GET_ONE(alif_cam);
#endif /* ISP_ENABLED */

	if (!device_is_ready(video)) {
		LOG_ERR("%s: device not ready.", video->name);
		return -1;
	}
	LOG_INF("Video device: %s", video->name);

	/* Query the panel early so the square preview size can drive ISP
	 * output, conversion, logo placement, and cache flushes.
	 */
	display_dev = DEVICE_DT_GET(DT_CHOSEN(zephyr_display));
	if (!device_is_ready(display_dev)) {
		LOG_ERR("Display device %s not ready", display_dev->name);
		return -1;
	}
	cdc200_get_capabilities(display_dev, &capabilities);
	preview_size = MIN(capabilities.x_panel_resolution,
			   capabilities.y_panel_resolution);
	/* Conversion writes a tightly packed RGB565 square into the FB.
	 * White-fill and the logo use the full panel surface.
	 */
	conv_bytes = (size_t)preview_size * preview_size * 2;
	panel_fb_bytes = (size_t)capabilities.x_panel_resolution *
			 capabilities.y_panel_resolution * 2;
	LOG_INF("Display %s: %dx%d (preview %ux%u)",
		display_dev->name,
		capabilities.x_panel_resolution,
		capabilities.y_panel_resolution,
		preview_size, preview_size);

#ifdef CONFIG_DT_HAS_OVTI_OV5640_ENABLED
	const struct device *cam_enbuf =
		DEVICE_DT_GET(DT_NODELABEL(cam_enbuf));

	if (!device_is_ready(cam_enbuf)) {
		LOG_ERR("cam_enbuf regulator not ready");
		return -1;
	}
#endif

#if ISP_ENABLED && defined(CONFIG_ISP_LIB_AE_MODULE)
	ret = isp_vsi_register_ae_status_callback(video, ae_status, NULL);
	if (ret) {
		LOG_ERR("Failed to register AE callback!");
		return ret;
	}
#endif /* ISP_ENABLED && defined(CONFIG_ISP_LIB_AE_MODULE) */

	for (loop_ctr = NUM_CAMS - 1; loop_ctr >= 0; loop_ctr--) {
		i = 0;
		memset(&fmt, 0, sizeof(fmt));
#if (CONFIG_VIDEO_ALIF_CAM_EXTENDED && CONFIG_VIDEO_MIPI_CSI2_DW)
		ret = video_get_ctrl(video,
				VIDEO_CID_ALIF_CSI_CURR_CAM,
				&current_sensor);
		if (ret) {
			LOG_ERR("Failed to get current camera!");
			return ret;
		}
		LOG_INF("Selected camera: %s",
			(current_sensor) ? "Standard" : "Selfie");
#endif /* CONFIG_VIDEO_ALIF_CAM_EXTENDED */

		if (ISP_ENABLED) {
			ep = VIDEO_EP_IN;
		} else {
			ep = VIDEO_EP_OUT;
		}

		/* Get capabilities */
		if (video_get_caps(video, ep, &caps)) {
			LOG_ERR("Unable to retrieve video capabilities");
			return -1;
		}

		LOG_INF("Sensor Capabilities:");
		while (caps.format_caps[i].pixelformat) {
			const struct video_format_cap *fcap =
				&caps.format_caps[i];
			/* fourcc to string */
			LOG_INF("  %c%c%c%c %ux%u (wxh)",
			       (char)fcap->pixelformat,
			       (char)(fcap->pixelformat >> 8),
			       (char)(fcap->pixelformat >> 16),
			       (char)(fcap->pixelformat >> 24),
			       fcap->width_min, fcap->height_min);
			if (fcap->pixelformat == PIPELINE_FORMAT) {
				fmt.pixelformat = PIPELINE_FORMAT;
				if (SENSOR_WIDTH && SENSOR_HEIGHT) {
					fmt.width = SENSOR_WIDTH;
					fmt.height = SENSOR_HEIGHT;
				} else {
					fmt.width = fcap->width_min;
					fmt.height = fcap->height_min;
				}
			}
			i++;
		}

		if (fmt.pixelformat == 0) {
			LOG_ERR("Desired Pixel format is not supported.");
			return -1;
		}

		fmt.pitch = fourcc_to_pitch(fmt.pixelformat, fmt.width);

		LOG_INF("Setting %c%c%c%c %ux%u",
			(char)fmt.pixelformat,
			(char)(fmt.pixelformat >> 8),
			(char)(fmt.pixelformat >> 16),
			(char)(fmt.pixelformat >> 24),
			fmt.width, fmt.height);

		ret = video_set_format(video, ep, &fmt);
		if (ret) {
			LOG_ERR("Failed to set video format. ret - %d", ret);
			return -1;
		}

#if (CONFIG_VIDEO_ALIF_CAM_EXTENDED && CONFIG_VIDEO_MIPI_CSI2_DW)
		if (NUM_CAMS > 1) {
			current_sensor ^= 1;
			ret = video_set_ctrl(video, VIDEO_CID_ALIF_CSI_CURR_CAM,
					&current_sensor);
			if (ret) {
				LOG_ERR("Unable to switch camera!");
			}
		}
#endif /* CONFIG_VIDEO_ALIF_CAM_EXTENDED */
	}

#if ISP_ENABLED
	/*
	 * Set Output Endpoint format. Ensure that ISP EP-out
	 * format is set while allocating the buffers used to
	 * capture images. CSM must be on so this YU12 is real
	 * video-range YUV (MT9 is black/green without it).
	 */
	fmt.pixelformat = OUTPUT_FORMAT;
	fmt.width = preview_size;
	fmt.height = preview_size;
	fmt.pitch = fourcc_to_pitch(fmt.pixelformat, fmt.width);

	ret = video_set_format(video, VIDEO_EP_OUT, &fmt);
	if (ret) {
		LOG_ERR("Failed to set video format for ISP EP-out. ret - %d", ret);
		return -1;
	}
#endif /* ISP_ENABLED */

	LOG_INF("Format: %c%c%c%c %ux%u", (char)fmt.pixelformat,
	       (char)(fmt.pixelformat >> 8),
	       (char)(fmt.pixelformat >> 16),
	       (char)(fmt.pixelformat >> 24),
	       fmt.width, fmt.height);

	/* Size to allocate for each buffer */
	bsize = fmt.pitch * fmt.height;

	LOG_INF("Width - %u, Pitch - %u, Height - %u, Buff size - %zu",
			fmt.width, fmt.pitch, fmt.height, bsize);

#if (CONFIG_VIDEO_ALIF_CAM_EXTENDED && CONFIG_VIDEO_MIPI_CSI2_DW)
		if (NUM_CAMS > 1) {
			current_sensor = 0;
			ret = video_set_ctrl(video, VIDEO_CID_ALIF_CSI_CURR_CAM,
					&current_sensor);
			if (ret) {
				LOG_ERR("Unable to switch camera!");
			}
		}
#endif /* CONFIG_VIDEO_ALIF_CAM_EXTENDED */

	/* Alloc video buffers and enqueue for capture */
	for (i = 0; i < ARRAY_SIZE(buffers); i++) {
		buffers[i] = video_buffer_alloc(bsize, K_NO_WAIT);
		if (buffers[i] == NULL) {
			LOG_ERR("Unable to alloc video buffer");
			return -1;
		}

		/* Allocated Buffer Information */
		LOG_INF("Buffer %d: addr 0x%x, size %d, %ux%u",
			i, (uint32_t)buffers[i]->buffer,
			bsize,
			fmt.width, fmt.height);

		memset(buffers[i]->buffer, 0, bsize);
		video_enqueue(video, VIDEO_EP_OUT, buffers[i]);

		LOG_DBG("capture buffer[%d]", i);
		LOG_DBG("dump: \"~/capture_%d.bin\" 0x%08x 0x%08x -r",
			i, (uint32_t)buffers[i]->buffer,
			(uint32_t)buffers[i]->buffer + bsize - 1);
	}

	/* Use display framebuffer (in SDRAM) as conversion output buffer
	 * to avoid consuming SRAM (video pool / heap are too small).
	 */
	{
		static struct video_buffer fb_conv_buf;

		cdc200_get_framebuffer(display_dev, 0, &fb_l2);
		if (fb_l2.fb_addr == 0 || fb_l2.fb_size < panel_fb_bytes) {
			LOG_ERR("FB too small: addr 0x%x size %u (need %zu)",
				(uint32_t)fb_l2.fb_addr, fb_l2.fb_size,
				panel_fb_bytes);
			return -1;
		}
		fb_conv_buf.buffer = (uint8_t *)fb_l2.fb_addr;
		fb_conv_buf.size = fb_l2.fb_size;
		fb_conv_buf.bytesused = 0;
		conv_buf = &fb_conv_buf;
	}
	LOG_INF("Conversion buffer (framebuffer): addr - 0x%x, size - %zu",
		(uint32_t)conv_buf->buffer, conv_bytes);

	/*
	 * TODO: Need to fix this delay.
	 * As per our observation, if we are not giving this much delay
	 * then the camera sensor is not setup properly and images
	 * sent out are not clear.
	 */
	k_msleep(1000);

#if CONFIG_DT_HAS_HIMAX_HM0360_ENABLED
	/* Video test SNAPSHOT capture. */
	num_frames = N_FRAMES;
	ret = video_set_ctrl(video, VIDEO_CID_SNAPSHOT_CAPTURE, &num_frames);
	if (ret) {
		LOG_INF("Snapshot mode not-supported by CMOS sensor.");
	}
#endif

#ifdef CONFIG_DT_HAS_OVTI_OV5640_ENABLED
	regulator_enable(cam_enbuf);
#endif

	/* --- Initialize display once, before capture starts --- */
	cdc200_set_enable(display_dev, true);

	/* Fill the entire panel white once (uses conv_buf as 1-row scratch) */
	{
		uint16_t panel_w = capabilities.x_panel_resolution;
		uint16_t panel_h = capabilities.y_panel_resolution;
		uint16_t *white_row = (uint16_t *)conv_buf->buffer;
		size_t white_bytes  = (size_t)panel_w * 2;
		struct display_buffer_descriptor wd = {
			.buf_size = white_bytes,
			.width    = panel_w,
			.height   = 1,
			.pitch    = panel_w,
		};

		for (size_t k = 0; k < panel_w; k++) {
			white_row[k] = 0xFFFF; /* RGB565 white */
		}
		sys_cache_data_flush_range(white_row, white_bytes);
		for (uint16_t row = 0; row < panel_h; row++) {
			ret = display_write(display_dev, 0, row, &wd,
					(uint8_t *)white_row);
			if (ret) {
				LOG_ERR("White fill failed at row %u: %d",
					row, ret);
				break;
			}
		}
	}

	/* Blit Alif logo below the square camera preview */
	blit_logo_to_fb((uint16_t *)conv_buf->buffer,
			capabilities.x_panel_resolution,
			preview_size,
			capabilities.y_panel_resolution);
	sys_cache_data_flush_range(conv_buf->buffer, panel_fb_bytes);
	LOG_DBG("Logo blitted below %ux%u image area",
		preview_size, preview_size);

	/* Start video capture */
	ret = video_stream_start(video);
	if (ret) {
		LOG_ERR("Unable to start capture. ret - %d", ret);
		return -1;
	}
	LOG_INF("Capture started");

	/* Continuous capture loop */
	while (1) {
		ret = video_dequeue(video, VIDEO_EP_OUT, &vbuf, K_FOREVER);
		if (ret) {
			LOG_ERR("Unable to dequeue video buf");
			goto stop_capture;
		}

		frame++;
		if (last_timestamp != 0) {
			frame_time = vbuf->timestamp - last_timestamp;
		}
		last_timestamp = vbuf->timestamp;

		t_begin = k_cycle_get_32();

#if !ISP_ENABLED
#if PIPELINE_IS_RGB565
		/* Processed RGB565 sensor: center-crop into the square
		 * preview. No demosaic or YUV convert.
		 */
		t_conv_start = k_cycle_get_32();
		{
			uint32_t crop_w = MIN(preview_size, fmt.width);
			uint32_t crop_h = MIN(preview_size, fmt.height);
			uint32_t crop_x = (fmt.width - crop_w) / 2;
			uint32_t crop_y = (fmt.height - crop_h) / 2;
			uint16_t *src = (uint16_t *)vbuf->buffer +
					crop_y * fmt.width + crop_x;
			uint16_t *dst = (uint16_t *)conv_buf->buffer;
			uint32_t row;

			sys_cache_data_invd_range(vbuf->buffer,
				vbuf->bytesused ? vbuf->bytesused : bsize);

			for (row = 0; row < crop_h; row++) {
				memcpy(dst, src, crop_w * sizeof(uint16_t));
				src += fmt.width;
				dst += preview_size;
			}

			t_conv_us = k_cyc_to_us_floor32(
				k_cycle_get_32() - t_conv_start);
			t_disp_start = k_cycle_get_32();
			sys_cache_data_flush_range(conv_buf->buffer, conv_bytes);
			t_disp_us = k_cyc_to_us_floor32(
				k_cycle_get_32() - t_disp_start);
		}
#else
		/* Bayer Y10P: unpack to 8-bit, then AIPL demosaics the
		 * square preview directly to the framebuffer.
		 */
		t_conv_start = k_cycle_get_32();
		{
			uint16_t *src16 = (uint16_t *)vbuf->buffer;
			uint8_t *raw8 = (uint8_t *)vbuf->buffer;
			uint32_t total_px = fmt.width * fmt.height;
			aipl_error_t aipl_ret;

			sys_cache_data_invd_range(vbuf->buffer,
				vbuf->bytesused ? vbuf->bytesused : bsize);

			for (uint32_t i = 0; i < total_px; i++) {
				raw8[i] = (src16[i] & 0x03FFu) >> 2;
			}

			aipl_ret = aipl_demosaic_rgb565(
					vbuf->buffer,
					conv_buf->buffer,
					fmt.width,
					preview_size, preview_size,
					AIPL_BAYER_GRBG);
			if (aipl_ret != AIPL_ERR_OK) {
				LOG_ERR("AIPL demosaic failed: %d", aipl_ret);
			}

			t_conv_us = k_cyc_to_us_floor32(
				k_cycle_get_32() - t_conv_start);
			t_disp_start = k_cycle_get_32();
			/* Only the square preview is rewritten each frame;
			 * the logo below it is static.
			 */
			sys_cache_data_flush_range(conv_buf->buffer, conv_bytes);
			t_disp_us = k_cyc_to_us_floor32(
				k_cycle_get_32() - t_disp_start);
		}
#endif /* PIPELINE_FORMAT == RGB565 */
#else
		/* ISP path: AIPL converts I420 -> RGB565 directly to
		 * framebuffer. conv_buf IS the framebuffer, and AIPL writes
		 * tightly packed output (pitch=width=preview_size),
		 * so no display_write() needed.
		 */
		t_conv_start = k_cycle_get_32();
		{
			aipl_error_t aipl_ret;

			sys_cache_data_invd_range(vbuf->buffer,
				vbuf->bytesused ? vbuf->bytesused : bsize);

			aipl_ret = aipl_color_convert_i420_to_rgb565(
					vbuf->buffer,
					conv_buf->buffer,
					fmt.width,
					fmt.width, fmt.height);
			if (aipl_ret != AIPL_ERR_OK) {
				LOG_ERR("AIPL I420->RGB565 failed: %d",
					aipl_ret);
			}

			t_conv_us = k_cyc_to_us_floor32(
				k_cycle_get_32() - t_conv_start);
			t_disp_start = k_cycle_get_32();

			/* Only the square preview is rewritten each frame;
			 * the logo below it is static.
			 */
			sys_cache_data_flush_range(conv_buf->buffer, conv_bytes);
		}
		t_disp_us = k_cyc_to_us_floor32(
				k_cycle_get_32() - t_disp_start);
#endif /* !ISP_ENABLED */

		t_total_us = k_cyc_to_us_floor32(k_cycle_get_32() - t_begin);
		t_conv_sum += t_conv_us;
		t_disp_sum += t_disp_us;
		t_total_sum += t_total_us;

		/* Periodic metrics log every 30 frames */
		if ((frame % 30) == 0 && frame_time) {
			LOG_INF("Frame %u | FPS ~%d", frame,
				1000 / (int)frame_time);
			LOG_DBG("conv %lu/%lu | disp %lu/%lu | total %lu/%lu",
				(unsigned long)t_conv_us,
				(unsigned long)(t_conv_sum / 30),
				(unsigned long)t_disp_us,
				(unsigned long)(t_disp_sum / 30),
				(unsigned long)t_total_us,
				(unsigned long)(t_total_sum / 30));
			t_conv_sum = 0;
			t_disp_sum = 0;
			t_total_sum = 0;
		}

		/* Requeue the video buffer for continuous capture */
		ret = video_enqueue(video, VIDEO_EP_OUT, vbuf);
		if (ret) {
			LOG_ERR("Unable to requeue video buf");
			goto stop_capture;
		}
		/* Driver auto-stops when the IN-FIFO drains; restart it.
		 * -EBUSY means streaming is still active, which is fine.
		 */
		ret = video_stream_start(video);
		if (ret && ret != -EBUSY) {
			LOG_ERR("Unable to restart capture. ret - %d", ret);
			goto stop_capture;
		}
	}

stop_capture:
	/* Only reached on error from the capture loop above. */
	LOG_INF("Stopping capture...");
	video_flush(video, VIDEO_EP_OUT, false);
	if (video_stream_stop(video)) {
		LOG_ERR("Unable to stop capture");
	}

	/* conv_buf uses display framebuffer; nothing to free */
	for (i = 0; i < ARRAY_SIZE(buffers); i++) {
		if (buffers[i]) {
			video_buffer_release(buffers[i]);
		}
	}
	return ret;
}

/*
 * Do application configurations.
 */
static int app_set_parameters(void)
{
	run_profile_t runp = { 0 };
	int ret;

#if defined(CONFIG_VIDEO_MIPI_CSI2_DW)
#if (DT_NODE_HAS_STATUS(DT_NODELABEL(camera_select), okay))
	const struct gpio_dt_spec sel =
		GPIO_DT_SPEC_GET(DT_NODELABEL(camera_select), select_gpios);

	gpio_pin_configure_dt(&sel, GPIO_OUTPUT);
	gpio_pin_set_dt(&sel, 1);
#endif /* (DT_NODE_HAS_STATUS(DT_NODELABEL(camera_select), okay)) */
#endif

#if (defined(CONFIG_ENSEMBLE_GEN2) && defined(CONFIG_MIPI_DSI))
	const struct gpio_dt_spec cam_disp_mux_gpio =
		GPIO_DT_SPEC_GET(DT_NODELABEL(mipi_dsi), cam_disp_mux_gpios);
	gpio_pin_configure_dt(&cam_disp_mux_gpio, GPIO_OUTPUT_ACTIVE);
#endif

	/* Enable HFOSC (38.4 MHz) and CFG (100 MHz) clock. */
#if defined(CONFIG_SOC_SERIES_E8)
	sys_set_bits(CGU_CLK_ENA, BIT(23) | BIT(7));
#else
	sys_set_bits(CGU_CLK_ENA, BIT(23) | BIT(21));
#endif /* defined (CONFIG_SOC_SERIES_E7) */

	runp.power_domains = PD_SYST_MASK | PD_SSE700_AON_MASK | PD_DBSS_MASK;
	runp.dcdc_voltage  = 825;
	runp.dcdc_mode     = DCDC_MODE_PWM;
	runp.aon_clk_src   = CLK_SRC_LFXO;
	runp.run_clk_src   = CLK_SRC_PLL;
	runp.vdd_ioflex_3V3 = IOFLEX_LEVEL_1V8;
#if defined(CONFIG_RTSS_HP)
	runp.cpu_clk_freq  = CLOCK_FREQUENCY_400MHZ;
#else
	runp.cpu_clk_freq  = CLOCK_FREQUENCY_160MHZ;
#endif

	runp.memory_blocks = MRAM_MASK;
#if DT_NODE_EXISTS(DT_NODELABEL(sram0))
	runp.memory_blocks |= SRAM0_MASK;
#endif

	runp.phy_pwr_gating |= MIPI_TX_DPHY_MASK | MIPI_RX_DPHY_MASK |
		MIPI_PLL_DPHY_MASK | LDO_PHY_MASK;
	runp.ip_clock_gating = CAMERA_MASK | MIPI_CSI_MASK |
		MIPI_DSI_MASK | CDC200_MASK | GPU_MASK;

	ret = se_service_set_run_cfg(&runp);
	__ASSERT(ret == 0, "SE: set_run_cfg failed = %d", ret);

	/*
	 * CPI Pixel clock - Generate XVCLK. Used by ARX3A0
	 * TODO: parse this clock from DTS and set on board from camera
	 * controller driver.
	 */
#if defined(CONFIG_VIDEO_MIPI_CSI2_DW)
	sys_write32(0x140001, CLKCTRL_PER_MST_CAMERA_PIXCLK_CTRL);
#endif

#if (DT_NODE_HAS_STATUS(DT_NODELABEL(lpcam), okay))
	/* Enable LPCAM controller Pixel Clock (XVCLK). */
	/*
	 * Not needed for the time being as LP-CAM supports only
	 * parallel data-mode of capture and only MT9M114 sensor is
	 * tested with parallel data capture which generates clock
	 * internally. But can be used to generate XVCLK from LP CAM
	 * controller.
	 * sys_write32(0x140001, M55HE_CFG_HE_CAMERA_PIXCLK);
	 */
#endif
	return 0;
}

SYS_INIT(app_set_parameters, PRE_KERNEL_1, 46);
```

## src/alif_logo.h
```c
/*
 * Copyright (C) Alif Semiconductor.
 * SPDX-License-Identifier: Apache-2.0
 */
#ifndef ALIF_LOGO_H
#define ALIF_LOGO_H
#include "aipl_image.h"

const aipl_image_t *get_alif_logo(void);

const uint8_t *get_alif_lut(void);

#endif
```
